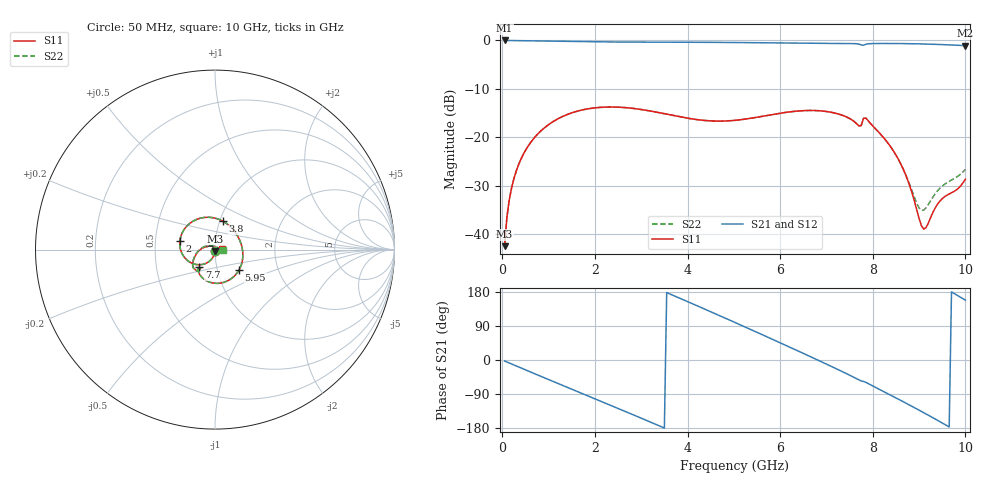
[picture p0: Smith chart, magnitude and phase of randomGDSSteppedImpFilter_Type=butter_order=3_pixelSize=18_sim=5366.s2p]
! freq	dB(S11)	phase(S11)	dB(S12)	phase(S12)
!  dB(S21)	phase(S21)	dB(S22)	phase(S22)
!S-par simulation data
#  GHz  S  DB  R 50
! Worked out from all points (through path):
!   200 points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, 50 MHz to 10 GHz, reference 50 ohm
!   highest |S21| = -0.01 dB at 50 MHz (marker M1); lowest = -1.1 dB at 10 GHz (marker M2)
!   group delay of S21, straight-line fit = 153 ps
!   lowest |S11| = -42.5 dB at 50 MHz (marker M3), VSWR 1.02, Z = 50 - j0.75 ohm
!   |S11| at or under -10 dB: start of sweep to end of sweep
!   |S22| runs from -42.5 to -13.8 dB; largest |S21 - S12| = 0
!   S11 on the Smith chart (normalised r, x): 50 MHz: 1.00, -0.01; 2 GHz: 0.67, +0.06; 3.8 GHz: 1.04, +0.34; 5.95 GHz: 1.27, -0.30; 7.7 GHz: 0.83, -0.16; 10 GHz: 1.08, +0.00
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0.05  -42.49 -92.2  -0.01 -2.7  -0.01 -2.7  -42.49 -92.2
0.1  -36.48 -95.1  -0.01 -5.3  -0.01 -5.3  -36.48 -95.1
0.2  -30.48 -100.5  -0.02 -10.4  -0.02 -10.4  -30.49 -100.5
0.5  -22.72 -116.3  -0.05 -26.0  -0.05 -26.0  -22.72 -116.4
1.15  -16.46 -150.0  -0.17 -59.3  -0.17 -59.3  -16.46 -150.2
1.75  -14.31 179.5  -0.27 -89.7  -0.27 -89.7  -14.31 179.2
2  -13.93 166.8  -0.30 -102.4  -0.30 -102.4  -13.93 166.5
2.75  -13.96 128.7  -0.34 -140.6  -0.34 -140.6  -13.96 128.2
3.4  -14.94 95.2  -0.36 -174.3  -0.36 -174.3  -14.95 94.5
3.8  -15.71 74.3  -0.36 164.7  -0.36 164.7  -15.71 73.5
4.5  -16.62 37.3  -0.39 127.4  -0.39 127.4  -16.62 36.5
5.05  -16.48 8.1  -0.43 97.7  -0.43 97.7  -16.49 7.5
5.95  -15.11 -40.2  -0.52 48.2  -0.52 48.2  -15.11 -40.5
6.7  -14.47 -81.2  -0.60 6.2  -0.60 6.2  -14.47 -81.3
7.2  -15.04 -109.1  -0.62 -22.3  -0.62 -22.3  -15.05 -109.3
7.7  -17.66 -131.6  -0.75 -52.5  -0.75 -52.5  -17.64 -132.0
7.85  -16.03 -140.4  -0.80 -58.9  -0.80 -58.9  -16.03 -141.4
8.35  -21.48 -178.6  -0.63 -90.5  -0.63 -90.5  -21.51 179.0
8.7  -27.53 153.8  -0.66 -112.8  -0.66 -112.8  -27.47 147.1
9.1  -38.96 62.0  -0.74 -139.0  -0.74 -139.0  -35.06 52.9
9.55  -32.28 -17.1  -0.88 -169.7  -0.88 -169.7  -29.71 -10.6
10  -28.66 1.6  -1.08 157.9  -1.08 157.9  -26.63 -4.3
